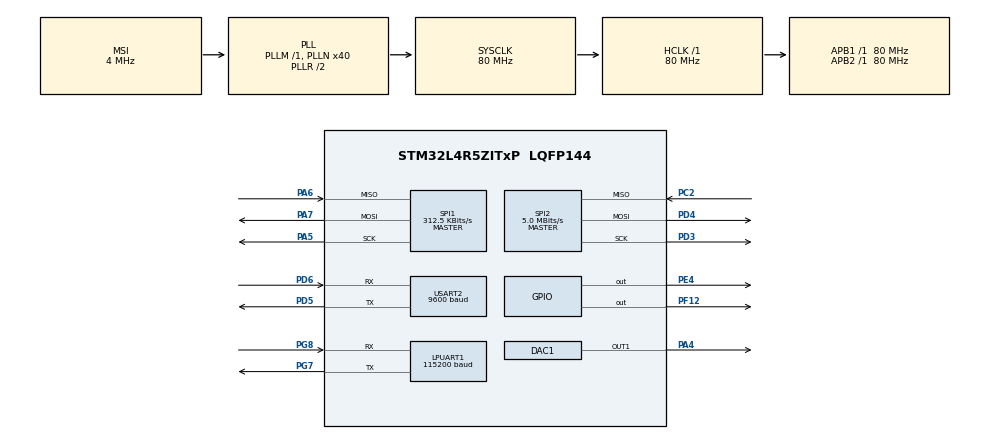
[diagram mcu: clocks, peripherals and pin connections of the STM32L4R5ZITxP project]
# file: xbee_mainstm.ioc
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DAC1.DAC_Trigger-DAC_OUT1=DAC_TRIGGER_T2_TRGO
Dma.DAC1_CH1.0.Direction=DMA_MEMORY_TO_PERIPH
Dma.DAC1_CH1.0.EventEnable=DISABLE
Dma.DAC1_CH1.0.Instance=DMA1_Channel1
Dma.DAC1_CH1.0.MemDataAlignment=DMA_MDATAALIGN_HALFWORD
Dma.DAC1_CH1.0.MemInc=DMA_MINC_ENABLE
Dma.DAC1_CH1.0.Mode=DMA_CIRCULAR
Dma.DAC1_CH1.0.PeriphDataAlignment=DMA_PDATAALIGN_HALFWORD
Dma.DAC1_CH1.0.PeriphInc=DMA_PINC_DISABLE
Dma.DAC1_CH1.0.Polarity=HAL_DMAMUX_REQUEST_GEN_RISING
Dma.DAC1_CH1.0.Priority=DMA_PRIORITY_LOW
Dma.DAC1_CH1.0.RequestNumber=1
Dma.DAC1_CH1.0.SignalID=NONE
Dma.DAC1_CH1.0.SyncEnable=DISABLE
Dma.DAC1_CH1.0.SyncPolarity=HAL_DMAMUX_SYNC_NO_EVENT
Dma.DAC1_CH1.0.SyncRequestNumber=1
Dma.DAC1_CH1.0.SyncSignalID=NONE
Dma.LPUART1_RX.1.Direction=DMA_PERIPH_TO_MEMORY
Dma.LPUART1_RX.1.EventEnable=DISABLE
Dma.LPUART1_RX.1.Instance=DMA1_Channel2
Dma.LPUART1_RX.1.MemDataAlignment=DMA_MDATAALIGN_BYTE
Dma.LPUART1_RX.1.MemInc=DMA_MINC_ENABLE
Dma.LPUART1_RX.1.Mode=DMA_NORMAL
Dma.LPUART1_RX.1.PeriphDataAlignment=DMA_PDATAALIGN_BYTE
Dma.LPUART1_RX.1.PeriphInc=DMA_PINC_DISABLE
Dma.LPUART1_RX.1.Polarity=HAL_DMAMUX_REQUEST_GEN_RISING
Dma.LPUART1_RX.1.Priority=DMA_PRIORITY_LOW
Dma.LPUART1_RX.1.RequestNumber=1
Dma.LPUART1_RX.1.SignalID=NONE
Dma.LPUART1_RX.1.SyncEnable=DISABLE
Dma.LPUART1_RX.1.SyncPolarity=HAL_DMAMUX_SYNC_NO_EVENT
Dma.LPUART1_RX.1.SyncRequestNumber=1
Dma.LPUART1_RX.1.SyncSignalID=NONE
Dma.Request0=DAC1_CH1
Dma.Request1=LPUART1_RX
LPUART1.BaudRate=115200
LPUART1.WordLength=UART_WORDLENGTH_8B
Mcu.Family=STM32L4
Mcu.Name=STM32L4R5ZITxP
Mcu.Package=LQFP144
NVIC.DMA1_Channel1_IRQn=true\:0\:0\:false\:false\:true\:false\:true\:true
NVIC.DMA1_Channel2_IRQn=true\:0\:0\:false\:false\:true\:false\:true\:true
NVIC.PriorityGroup=NVIC_PRIORITYGROUP_4
NVIC.SPI1_IRQn=true\:0\:0\:false\:false\:true\:true\:true\:true
NVIC.USART2_IRQn=true\:0\:0\:false\:false\:true\:true\:true\:true
PA0.Signal=S_TIM2_CH1
PA1.Signal=ADCx_IN6
PA10.Signal=USB_OTG_FS_ID
PA13\ (JTMS/SWDIO).Signal=SYS_JTMS-SWDIO
PA14\ (JTCK/SWCLK).Signal=SYS_JTCK-SWCLK
PA3.Signal=ADCx_IN8
PA4.Signal=COMP_DAC11_group
PA5.GPIO_Speed=GPIO_SPEED_FREQ_LOW
PA5.Mode=Full_Duplex_Master
PA5.Signal=SPI1_SCK
PA6.GPIO_Speed=GPIO_SPEED_FREQ_LOW
PA6.Mode=Full_Duplex_Master
PA6.Signal=SPI1_MISO
PA7.GPIO_Speed=GPIO_SPEED_FREQ_LOW
PA7.Mode=Full_Duplex_Master
PA7.Signal=SPI1_MOSI
PA8.Signal=USB_OTG_FS_SOF
PA9.Signal=USB_OTG_FS_VBUS
PB0.Signal=S_TIM3_CH3
PB1.Signal=ADCx_IN16
PB10.Signal=S_TIM2_CH3
PB12.Signal=SAI2_FS_A
PB13.Signal=SAI2_SCK_A
PB14.Signal=S_TIM15_CH1
PB15.Signal=SAI2_SD_A
PB2.Signal=COMP1_INP
PB3\ (JTDO/TRACESWO).Signal=SPI3_SCK
PB4\ (NJTRST).Signal=SPI3_MISO
PB5.Signal=SPI3_MOSI
PB6.Signal=COMP2_INP
PB8.Signal=I2C1_SCL
PB9.Signal=I2C1_SDA
PC0.Signal=ADCx_IN1
PC1.Signal=ADCx_IN2
PC10.Signal=SDMMC1_D2
PC11.Signal=SDMMC1_D3
PC12.Signal=SDMMC1_CK
PC13.Signal=SYS_WKUP2
PC14-OSC32_IN\ (PC14).Signal=RCC_OSC32_IN
PC15-OSC32_OUT\ (PC15).Signal=RCC_OSC32_OUT
PC2.GPIO_PuPd=GPIO_PULLUP
PC2.Mode=Full_Duplex_Master
PC2.Signal=SPI2_MISO
PC3.Signal=ADCx_IN4
PC4.Signal=ADCx_IN13
PC5.Signal=ADCx_IN14
PC6.Signal=SAI2_MCLK_A
PC7.Signal=S_TIM3_CH2
PC8.Signal=SDMMC1_D0
PC9.Signal=SDMMC1_D1
PD0.Signal=CAN1_RX
PD14.Signal=S_TIM4_CH3
PD15.Signal=S_TIM4_CH4
PD2.Signal=SDMMC1_CMD
PD3.Mode=Full_Duplex_Master
PD3.Signal=SPI2_SCK
PD4.GPIO_PuPd=GPIO_NOPULL
PD4.Mode=Full_Duplex_Master
PD4.Signal=SPI2_MOSI
PD5.Mode=Asynchronous
PD5.Signal=USART2_TX
PD6.Mode=Asynchronous
PD6.Signal=USART2_RX
PD8.Signal=USART3_TX
PD9.Signal=USART3_RX
PE0.Signal=S_TIM4_ETR
PE10.Signal=TIM1_CH2N
PE11.Signal=S_TIM1_CH2
PE12.Signal=TIM1_CH3N
PE13.Signal=S_TIM1_CH3
PE14.Signal=TIM1_BKIN2
PE15.Signal=TIM1_BKIN
PE2.Signal=SAI1_MCLK_A
PE3.Signal=SAI1_SD_B
PE4.PinState=GPIO_PIN_SET
PE4.Signal=GPIO_Output
PE7.Signal=S_TIM1_ETR
PE8.Signal=TIM1_CH1N
PE9.Signal=S_TIM1_CH1
PF0.Signal=I2C2_SDA
PF1.Signal=I2C2_SCL
PF12.PinState=GPIO_PIN_SET
PF12.Signal=GPIO_Output
PF2.Signal=I2C2_SMBA
PF7.Signal=SAI1_MCLK_B
PG7.Mode=Asynchronous
PG7.Signal=LPUART1_TX
PG8.Mode=Asynchronous
PG8.Signal=LPUART1_RX
PH0-OSC_IN\ (PH0).Signal=RCC_OSC_IN
PH1-OSC_OUT\ (PH1).Signal=RCC_OSC_OUT
ProjectManager.HeapSize=0x200
ProjectManager.StackSize=0x400
ProjectManager.TargetToolchain=STM32CubeIDE
RCC.AHBFreq_Value=80000000
RCC.APB1Freq_Value=80000000
RCC.APB1TimFreq_Value=80000000
RCC.APB2Freq_Value=80000000
RCC.APB2TimFreq_Value=80000000
RCC.CortexFreq_Value=80000000
RCC.HCLKFreq_Value=80000000
RCC.HSE_VALUE=8000000
RCC.HSI48_VALUE=48000000
RCC.HSI_VALUE=16000000
RCC.LSE_VALUE=32768
RCC.MSI_VALUE=4000000
RCC.PLLN=40
RCC.SYSCLKFreq_VALUE=80000000
RCC.SYSCLKSource=RCC_SYSCLKSOURCE_PLLCLK
RCC.VCOOutputFreq_Value=160000000
SH.ADCx_IN1.0=ADC1_IN1
SH.ADCx_IN13.0=ADC1_IN13
SH.ADCx_IN14.0=ADC1_IN14
SH.ADCx_IN16.0=ADC1_IN16
SH.ADCx_IN2.0=ADC1_IN2
SH.ADCx_IN4.0=ADC1_IN4
SH.ADCx_IN6.0=ADC1_IN6
SH.ADCx_IN8.0=ADC1_IN8
SH.COMP_DAC11_group.0=DAC1_OUT1,DAC_OUT1
SH.S_TIM15_CH1.0=TIM15_CH1
SH.S_TIM1_CH1.0=TIM1_CH1
SH.S_TIM1_CH2.0=TIM1_CH2
SH.S_TIM1_CH3.0=TIM1_CH3
SH.S_TIM1_ETR.0=TIM1_ETR
SH.S_TIM2_CH1.0=TIM2_CH1
SH.S_TIM2_CH3.0=TIM2_CH3
SH.S_TIM3_CH2.0=TIM3_CH2
SH.S_TIM3_CH3.0=TIM3_CH3
SH.S_TIM4_CH3.0=TIM4_CH3
SH.S_TIM4_CH4.0=TIM4_CH4
SH.S_TIM4_ETR.0=TIM4_ETR
SPI1.BaudRatePrescaler=SPI_BAUDRATEPRESCALER_256
SPI1.CalculateBaudRate=312.5 KBits/s
SPI1.DataSize=SPI_DATASIZE_8BIT
SPI1.Direction=SPI_DIRECTION_2LINES
SPI1.Mode=SPI_MODE_MASTER
SPI1.VirtualType=VM_MASTER
SPI2.BaudRatePrescaler=SPI_BAUDRATEPRESCALER_16
SPI2.CalculateBaudRate=5.0 MBits/s
SPI2.DataSize=SPI_DATASIZE_8BIT
SPI2.Direction=SPI_DIRECTION_2LINES
SPI2.Mode=SPI_MODE_MASTER
SPI2.VirtualType=VM_MASTER
TIM2.Period=4999
TIM2.TIM_MasterOutputTrigger=TIM_TRGO_UPDATE
USART2.BaudRate=9600
USART2.VirtualMode-Asynchronous=VM_ASYNC
VP_FATFS_VS_Generic.Mode=User_defined
VP_TIM2_VS_ClockSourceINT.Mode=Internal
board=NUCLEO-L4R5ZI-P

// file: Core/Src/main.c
/* USER CODE BEGIN Header */
/**
  ******************************************************************************
  * @file           : main.c
  * @brief          : Main program body
  ******************************************************************************
  * @attention
  *
  * Copyright (c) 2026 STMicroelectronics.
  * All rights reserved.
  *
  * This software is licensed under terms that can be found in the LICENSE file
  * in the root directory of this software component.
  * If no LICENSE file comes with this software, it is provided AS-IS.
  *
  ******************************************************************************
  */
/* USER CODE END Header */
#include "main.h"
#include "fatfs.h"

/* USER CODE BEGIN Includes */
#include "stdio.h"
#include "string.h"
#include "sfx.h"
/* USER CODE END Includes */

/* USER CODE BEGIN PD */
#define DEVICE_ADDR  0b100
#define P1_ARM_ADDR  0b000
#define P1_LEG_ADDR  0b001
#define P2_ARM_ADDR  0b010
#define P2_LEG_ADDR  0b011
#define START_BYTE   0xFF
#define TIMEOUT_MS   50

/* ── BGM filenames — change these to swap tracks ──────────────── */
#define BGM_INTRO    "introken.wav"
#define BGM_GAME     "bgm.wav"
#define BGM_GAMEOVER "gameover.wav"

#define AUDIO_BUF_SAMPLES 3200          /* 100ms per half at 16 kHz */
#define HALF_BUF_SAMPLES  (AUDIO_BUF_SAMPLES / 2)
uint8_t  raw[HALF_BUF_SAMPLES * 2];   /* scratch buffer for SD reads */
uint16_t audio_out[AUDIO_BUF_SAMPLES]; /* DMA output (circular double-buffer) */

/* USER CODE END PD */

DAC_HandleTypeDef hdac1;
DMA_HandleTypeDef hdma_dac1_ch1;

UART_HandleTypeDef hlpuart1;
UART_HandleTypeDef huart2;
DMA_HandleTypeDef hdma_lpuart1_rx;

SPI_HandleTypeDef hspi1;
SPI_HandleTypeDef hspi2;

TIM_HandleTypeDef htim2;

/* USER CODE BEGIN PV */

/* ── UART inter-STM communication ─────────────────────────────── */
uint8_t rx_buf[3]   = {0};
uint8_t rx_copy[3]  = {0};
uint8_t local_copy[3] = {0};
uint8_t tx_buf[3]   = {0};

uint8_t current_slave        = P1_ARM_ADDR;
uint8_t waiting_for_response = 0;
volatile uint8_t uart_tx_busy      = 0;
volatile uint8_t process_rx_buf    = 0;
uint32_t request_time        = 0;

/* ── Player state decoded from UART (arm/leg nodes) ───────────── */
uint8_t p1_punch        = 0;
uint8_t p1_jump         = 0;
uint8_t p1_joystick_val = 0;
uint8_t p1_emg_val      = 0;
uint8_t p2_punch        = 0;
uint8_t p2_jump         = 0;
uint8_t p2_joystick_val = 0;
uint8_t p2_emg_val      = 0;

/* ── Game state decoded from FPGA SPI rxData ──────────────────── */
uint8_t p1_got_hit      = 0;
uint8_t p2_got_hit      = 0;
uint8_t p1_win          = 0;
uint8_t p2_win          = 0;
uint8_t p1_jump_snd     = 0;
uint8_t p2_jump_snd     = 0;
uint8_t p1_punch_snd    = 0;
uint8_t p2_punch_snd    = 0;
uint8_t p1_charging_snd = 0;
uint8_t p2_charging_snd = 0;

/* USER CODE END PV */

void SystemClock_Config(void);
static void MX_GPIO_Init(void);
static void MX_DMA_Init(void);
static void MX_LPUART1_UART_Init(void);
static void MX_SPI1_Init(void);
static void MX_DAC1_Init(void);
static void MX_TIM2_Init(void);
static void MX_SPI2_Init(void);
static void MX_USART2_UART_Init(void);

/* USER CODE BEGIN 0 */

/* Decode a 3-byte packet received from an arm/leg node via UART */
void process(uint8_t *buf) {
    uint8_t second_byte = buf[1];
    if ((second_byte & 0b111) == P1_ARM_ADDR) {
        p1_punch        = (buf[1] >> 6) & 0x01;
        p1_joystick_val = buf[2] & 0x3;
        p1_emg_val      = buf[2] >> 2;
        if (p1_punch & p1_joystick_val) p1_joystick_val = 0;
    } else if ((second_byte & 0b111) == P2_ARM_ADDR) {
        p2_punch        = (buf[1] >> 6) & 0x01;
        p2_joystick_val = buf[2] & 0x3;
        p2_emg_val      = buf[2] >> 2;
        if (p2_punch & p2_joystick_val) p2_joystick_val = 0;
    } else if ((second_byte & 0b111) == P1_LEG_ADDR) {
        p1_jump = buf[1] >> 7;
    } else if ((second_byte & 0b111) == P2_LEG_ADDR) {
        p2_jump = buf[1] >> 7;
    }
}

/* SPI transaction helper — pulls CS low, transfers, releases CS */
void SPI_TransmitReceive(uint8_t *txData, uint8_t *rxData, uint16_t size) {
    HAL_GPIO_WritePin(GPIOF, GPIO_PIN_12, GPIO_PIN_RESET);
    HAL_SPI_TransmitReceive(&hspi1, txData, rxData, size, 100);
    HAL_GPIO_WritePin(GPIOF, GPIO_PIN_12, GPIO_PIN_SET);
}

/* UART RX complete: copy buffer, advance slave, re-arm receiver */
void HAL_UART_RxCpltCallback(UART_HandleTypeDef *huart) {
    if (huart->Instance == USART2) {
        memcpy(local_copy, rx_buf, 3);
        process_rx_buf = 1;
        switch (current_slave) {
            case P1_ARM_ADDR: current_slave = P1_LEG_ADDR; break;
            case P1_LEG_ADDR: current_slave = P2_ARM_ADDR; break;
            case P2_ARM_ADDR: current_slave = P2_LEG_ADDR; break;
            case P2_LEG_ADDR: current_slave = P1_ARM_ADDR; break;
        }
        waiting_for_response = 0;
        HAL_UART_Receive_IT(&huart2, rx_buf, 3);
    }
}

/* UART TX complete: release busy flag */
void HAL_UART_TxCpltCallback(UART_HandleTypeDef *huart) {
    if (huart->Instance == USART2) {
        uart_tx_busy = 0;
    }
}

/* UART error: re-arm receiver so polling doesn't permanently stop */
void HAL_UART_ErrorCallback(UART_HandleTypeDef *huart) {
    if (huart->Instance == USART2) {
        uart_tx_busy = 0;
        huart2.RxState = HAL_UART_STATE_READY;
        huart2.gState  = HAL_UART_STATE_READY;
        HAL_UART_Receive_IT(&huart2, rx_buf, 3);
    }
}

FATFS SDFatFs;
char SDPath[4] = "0:/";
FIL wavFile;
FRESULT fres;
uint32_t data_start_offset = 0;  /* byte offset of first audio sample in WAV */

volatile int half_ready = 0;
volatile int full_ready = 0;
volatile int playing    = 0;

const int16_t    *sfx_data = NULL;  /* SFX stored as const array in flash */
volatile uint32_t sfx_len  = 0;
volatile uint32_t sfx_pos  = 0;
static int16_t    sfx_gain = 1;     /* multiplier applied to SFX samples */

/* ── Game event flags ─────────────────────────────────────────────
 * Set these from your packet-receive / UART callback when events arrive.
 * Main loop consumes and clears them.                                  */
volatile uint8_t p1_punch_flag      = 0;
volatile uint8_t p2_punch_flag      = 0;
volatile uint8_t p1_jump_flag       = 0;
volatile uint8_t p2_jump_flag       = 0;
volatile uint8_t game_started       = 0;  /* 0 = intro screen, 1 = game running */
volatile uint8_t game_countdown_flag = 0; /* set during pre-game countdown — plays ready[] */
volatile uint8_t game_over_flag      = 0; /* set when match ends — chains perfect → you_win */
volatile uint8_t timesup_flag        = 0; /* set when round timer expires */

/* ── BGM switch state ──────────────────────────────────────────── */
static uint8_t      bgm_state          = 0;     /* 0=intro BGM, 1=game BGM, 2=game over, 3=time's up */
static uint8_t      bgm_switch_pending = 0;
static const char  *pending_bgm_file   = NULL;
static uint8_t      bgm_muted          = 0;     /* 1 = silence BGM, SFX still plays */
static FIL          pendingWavFile;
static uint32_t     pending_data_start = 0;
static uint8_t      bgm_preloaded      = 0;     /* 1 = pendingWavFile already open and seeked */

/* ── SFX queue — up to 3 chained SFX play sequentially ────────── */
#define SFX_QUEUE_MAX 3
typedef struct { const int16_t *data; uint32_t len; } SfxEntry;
static SfxEntry sfx_queue[SFX_QUEUE_MAX];
static uint8_t  sfx_q_head = 0;
static uint8_t  sfx_q_tail = 0;

void HAL_DAC_ConvHalfCpltCallbackCh1(DAC_HandleTypeDef *hdac)
{
    half_ready = 1;
}

void HAL_DAC_ConvCpltCallbackCh1(DAC_HandleTypeDef *hdac)
{
    full_ready = 1;
}

static int wav_seek_to_data(void)
{
    UINT br;
    uint8_t hdr[12];
    uint8_t chunk[8];

    // Read RIFF header
    if (f_lseek(&wavFile, 0) != FR_OK) return 0;
    if (f_read(&wavFile, hdr, 12, &br) != FR_OK || br != 12) return 0;

    // Check "RIFF" and "WAVE"
    if (hdr[0] != 'R' || hdr[1] != 'I' || hdr[2] != 'F' || hdr[3] != 'F') return 0;
    if (hdr[8] != 'W' || hdr[9] != 'A' || hdr[10] != 'V' || hdr[11] != 'E') return 0;

    while (1) {
        if (f_read(&wavFile, chunk, 8, &br) != FR_OK || br != 8) return 0;

        uint32_t chunk_size =
            ((uint32_t)chunk[4]) |
            ((uint32_t)chunk[5] << 8) |
            ((uint32_t)chunk[6] << 16) |
            ((uint32_t)chunk[7] << 24);

        // Found "data"
        if (chunk[0] == 'd' && chunk[1] == 'a' && chunk[2] == 't' && chunk[3] == 'a') {
            return 1;
        }

        // Skip this chunk
        if (f_lseek(&wavFile, f_tell(&wavFile) + chunk_size) != FR_OK) return 0;

        // Chunks are word-aligned
        if (chunk_size & 1) {
            if (f_lseek(&wavFile, f_tell(&wavFile) + 1) != FR_OK) return 0;
        }
    }
}

/* Stream n samples from SD into dst, loop BGM at EOF, mix SFX from flash */
static void fill_output(uint16_t *dst, uint32_t n)
{
    uint32_t bytes_needed = n * 2;
    UINT br = 0;

    /* One read, FatFS handles cluster boundaries internally */
    f_read(&wavFile, raw, bytes_needed, &br);

    /* Only seek back if we actually hit EOF mid-buffer */
    if (f_eof(&wavFile) && br < bytes_needed) {
        f_lseek(&wavFile, data_start_offset);
        UINT br2 = 0;
        f_read(&wavFile, &raw[br], bytes_needed - br, &br2);
        br += br2;
    }

    uint32_t got_samples = br / 2;
    for (uint32_t i = 0; i < n; i++) {
        int32_t bgm = (i < got_samples && !bgm_muted)
            ? (int32_t)(int16_t)((raw[2*i+1] << 8) | raw[2*i])
            : 0;

        /* Advance to next queued SFX the moment the current one finishes */
        if (sfx_data && sfx_pos >= sfx_len) {
            if (sfx_q_head != sfx_q_tail) {
                sfx_data   = sfx_queue[sfx_q_head].data;
                sfx_len    = sfx_queue[sfx_q_head].len;
                sfx_pos    = 0;
                sfx_q_head = (sfx_q_head + 1) % SFX_QUEUE_MAX;
            } else {
                sfx_data = NULL;
            }
        }

        int32_t sfx = 0;
        if (sfx_data && sfx_pos < sfx_len)
            sfx = (int32_t)sfx_data[sfx_pos++] * sfx_gain;

        int32_t out = bgm + sfx;
        if (out >  32767) out =  32767;
        if (out < -32768) out = -32768;
        dst[i] = (uint16_t)((out + 32768) >> 4);
    }
}

void Play_SFX_Gain(const int16_t *data, uint32_t len, int16_t gain)
{
    sfx_q_head = sfx_q_tail = 0;   /* clear pending chain */
    sfx_data = data;
    sfx_len  = len;
    sfx_pos  = 0;
    sfx_gain = gain;
}

/* Play a one-shot SFX immediately, clearing any pending chain */
void Play_SFX(const int16_t *data, uint32_t len)
{
    Play_SFX_Gain(data, len, 1);
}

/* Queue a follow-up SFX to play after the current one finishes */
void Queue_SFX(const int16_t *data, uint32_t len)
{
    uint8_t next = (sfx_q_tail + 1) % SFX_QUEUE_MAX;
    if (next != sfx_q_head) {   /* silently drop if queue full */
        sfx_queue[sfx_q_tail].data = data;
        sfx_queue[sfx_q_tail].len  = len;
        sfx_q_tail = next;
    }
}

/* Open a WAV file and seek to its PCM data — SD must already be mounted */
static int open_bgm_file(const char *filename)
{
    fres = f_open(&wavFile, filename, FA_READ);
    printf("f_open(%s) = %d\r\n", filename, fres);
    if (fres != FR_OK) return 0;

    if (!wav_seek_to_data()) {
        printf("WAV data chunk not found\r\n");
        f_close(&wavFile);
        return 0;
    }

    data_start_offset = f_tell(&wavFile);
    return 1;
}

/* Mount SD then open file — call only on first open at startup */
static int open_bgm(const char *filename)
{
    fres = f_mount(&SDFatFs, (TCHAR const*)SDPath, 1);
    printf("f_mount = %d\r\n", fres);
    if (fres != FR_OK) return 0;
    return open_bgm_file(filename);
}

/* Switch BGM without remounting — pre-open while SFX plays, swap instantly when done */
static void do_bgm_switch(void)
{
    if (!bgm_switch_pending) return;

    /* Pre-open the pending file while SFX is still playing */
    if (!bgm_preloaded) {
        FRESULT r = f_open(&pendingWavFile, pending_bgm_file, FA_READ);
        if (r == FR_OK) {
            FIL tmp = wavFile;
            wavFile = pendingWavFile;
            if (wav_seek_to_data()) {
                pending_data_start = f_tell(&wavFile);
                bgm_preloaded = 1;
            }
            wavFile = tmp;   /* restore current file */
        }
        return;  /* don't swap yet, wait for SFX to finish */
    }

    /* SFX still playing — keep waiting */
    if (sfx_data != NULL) return;

    /* SFX done — swap instantly, file is already open and seeked */
    f_close(&wavFile);
    wavFile          = pendingWavFile;
    data_start_offset = pending_data_start;
    bgm_switch_pending = 0;
    bgm_preloaded      = 0;
}

static void start_wav_playback(void)
{
    printf("Starting playback...\r\n");

    if (!open_bgm_file(BGM_INTRO)){
        printf("Open failed\r\n");
        HAL_Delay(500);
        return;
    }

    /* Pre-fill both halves before handing off to DMA */
    fill_output(&audio_out[0],                HALF_BUF_SAMPLES);
    fill_output(&audio_out[HALF_BUF_SAMPLES], HALF_BUF_SAMPLES);

    HAL_TIM_Base_Start(&htim2);
    HAL_DAC_Start_DMA(&hdac1, DAC_CHANNEL_1,
                      (uint32_t*)audio_out, AUDIO_BUF_SAMPLES,
                      DAC_ALIGN_12B_R);

    playing = 1;
    printf("Playback started!\r\n");
}

/* USER CODE END 0 */

int main(void)
{

  /* MCU Configuration--------------------------------------------------------*/

  /* Reset of all peripherals, Initializes the Flash interface and the Systick. */
  HAL_Init();

  /* Configure the system clock */
  SystemClock_Config();

  /* Initialize all configured peripherals */
  MX_GPIO_Init();
  MX_DMA_Init();
  MX_LPUART1_UART_Init();
  MX_SPI1_Init();
  MX_DAC1_Init();
  MX_TIM2_Init();
  MX_FATFS_Init();
  MX_SPI2_Init();
  MX_USART2_UART_Init();
  /* USER CODE BEGIN 2 */

  HAL_UART_Receive_IT(&huart2, rx_buf, 3);

  /* Mount SD card once at startup — never remount in the main loop */
  fres = f_mount(&SDFatFs, (TCHAR const*)SDPath, 1);
  printf("f_mount = %d\r\n", fres);

  printf("Start code\r\n");

  /* USER CODE END 2 */

  /* Infinite loop */
  /* USER CODE BEGIN WHILE */
  while (1)
  {
      /* --- UART round-robin: poll arm/leg nodes ------------------- */
      if (!waiting_for_response) {
          process(local_copy);

          if (current_slave == P1_ARM_ADDR) {
              tx_buf[0] = START_BYTE;
              tx_buf[1] = (DEVICE_ADDR | (P1_ARM_ADDR << 3));
              tx_buf[2] = p1_got_hit;
          } else if (current_slave == P1_LEG_ADDR) {
              tx_buf[0] = START_BYTE;
              tx_buf[1] = (DEVICE_ADDR | (P1_LEG_ADDR << 3));
              tx_buf[2] = 0;
          } else if (current_slave == P2_ARM_ADDR) {
              tx_buf[0] = START_BYTE;
              tx_buf[1] = (DEVICE_ADDR | (P2_ARM_ADDR << 3));
              tx_buf[2] = p2_got_hit;
          } else {
              tx_buf[0] = START_BYTE;
              tx_buf[1] = (DEVICE_ADDR | (P2_LEG_ADDR << 3));
              tx_buf[2] = 0;
          }

          if (!uart_tx_busy) {
              uart_tx_busy = 1;
              HAL_UART_Transmit_IT(&huart2, tx_buf, 3);
              waiting_for_response = 1;
              request_time = HAL_GetTick();
          }
      } else {
          if (HAL_GetTick() - request_time > TIMEOUT_MS) {
              printf("Timeout on slave %d\r\n", current_slave);
              switch (current_slave) {
                  case P1_ARM_ADDR: current_slave = P1_LEG_ADDR; break;
                  case P1_LEG_ADDR: current_slave = P2_ARM_ADDR; break;
                  case P2_ARM_ADDR: current_slave = P2_LEG_ADDR; break;
                  case P2_LEG_ADDR: current_slave = P1_ARM_ADDR; break;
              }
              waiting_for_response = 0;
          }
      }

      /* --- SPI to FPGA: send player state, receive sound flags --- */
      {
          uint8_t txDataP1[2] = {0};
          uint8_t txDataP2[2] = {0};
          uint8_t rxData[2]   = {0};

          txDataP1[0] = 0xA1;
          txDataP1[1] = ((p1_joystick_val & 0x03) << 6) |
                        ((p1_jump         & 0x01) << 5) |
                        ((p1_punch        & 0x01) << 4) |
                        ((p1_emg_val      & 0x01) << 3);
          SPI_TransmitReceive(txDataP1, rxData, 2);

          txDataP2[0] = 0xA2;
          txDataP2[1] = ((p2_joystick_val & 0x03) << 6) |
                        ((p2_jump         & 0x01) << 5) |
                        ((p2_punch        & 0x01) << 4) |
                        ((p2_emg_val      & 0x01) << 3);
          SPI_TransmitReceive(txDataP2, rxData, 2);

          /* Decode game state from FPGA response */
          p2_got_hit      = (rxData[0] >> 7) & 0x01;
          p1_got_hit      = (rxData[0] >> 6) & 0x01;
          p1_win          = (rxData[0] >> 5) & 0x01;
          p2_win          = (rxData[0] >> 4) & 0x01;
          p1_jump_snd     = (rxData[0] >> 3) & 0x01;
          p2_jump_snd     = (rxData[0] >> 2) & 0x01;
          p1_punch_snd    = (rxData[0] >> 1) & 0x01;
          p2_punch_snd    = (rxData[0] >> 0) & 0x01;
          p1_charging_snd = (rxData[1] >> 7) & 0x01;
          p2_charging_snd = (rxData[1] >> 6) & 0x01;
          uint8_t timesup_snd = (rxData[1] >> 3) & 0x01;

          /* Map FPGA sound flags → audio event flags */
          if (p1_punch_snd) p1_punch_flag = 1;
          if (p2_punch_snd) p2_punch_flag = 1;
          if (p1_jump_snd)  p1_jump_flag  = 1;
          if (p2_jump_snd)  p2_jump_flag  = 1;
          if (timesup_snd && bgm_state < 2)  timesup_flag  = 1;
          /* 2-bit game state from FPGA: rxData[1] bits 5:4
           * 0 = intro, 1 = game running, 2 = game over */
          uint8_t fpga_game_state = (rxData[1] >> 4) & 0x03;
          if (fpga_game_state != game_started) {
              if (fpga_game_state == 0) {
                  /* Game over → intro reset: switch BGM back to intro */
                  pending_bgm_file   = BGM_INTRO;
                  bgm_switch_pending = 1;
                  bgm_state          = 0;
              } else if (fpga_game_state == 1) {
                  /* Intro → game: play ready, BGM switch deferred until ready finishes */
                  game_countdown_flag = 1;
                  pending_bgm_file    = BGM_GAME;
                  bgm_switch_pending  = 1;
                  bgm_state           = 1;
              } else if (fpga_game_state == 2) {
                  /* Game running → game over */
                  game_over_flag = 1;
              }
              game_started = fpga_game_state;
          }
      }

      /* --- Countdown: play "ready", BGM switches after it finishes --- */
      if (game_countdown_flag) {
          game_countdown_flag = 0;
          Play_SFX(ready, sizeof(ready) / sizeof(ready[0]));
      }
      if (bgm_switch_pending) {
          do_bgm_switch();
      }

      /* --- Game over: play youwin → perfect, then switch BGM --- */
      if (game_over_flag) {
          game_over_flag     = 0;
          bgm_state          = 2;
          pending_bgm_file   = BGM_GAMEOVER;
          bgm_switch_pending = 1;
          Play_SFX(youwin, sizeof(youwin) / sizeof(youwin[0]));
          Queue_SFX(perfect, sizeof(perfect) / sizeof(perfect[0]));
      }

      /* --- SFX triggers (consume and clear flags) --- */
      if (p1_punch_flag || p2_punch_flag) {
          p1_punch_flag = 0;
          p2_punch_flag = 0;
          Play_SFX(punch, sizeof(punch) / sizeof(punch[0]));
          if (p1_got_hit || p2_got_hit)
              Queue_SFX(pain, sizeof(pain) / sizeof(pain[0]));
      }
      if (p1_jump_flag || p2_jump_flag) {
          p1_jump_flag = 0;
          p2_jump_flag = 0;
          Play_SFX(jump2, sizeof(jump2) / sizeof(jump2[0]));
      }
      if (p1_charging_snd || p2_charging_snd) {
          Play_SFX_Gain(powerup, sizeof(powerup) / sizeof(powerup[0]), 3);
      }
      if (timesup_flag) {
          timesup_flag       = 0;
          bgm_state          = 3;
          pending_bgm_file   = BGM_GAMEOVER;
          bgm_switch_pending = 1;
          Play_SFX(timeup, sizeof(timeup) / sizeof(timeup[0]));
      }

      /* --- BGM streaming --- */
      if (!playing) {
          start_wav_playback();
      }
      if (half_ready) {
          half_ready = 0;
          fill_output(&audio_out[0], HALF_BUF_SAMPLES);
      }
      if (full_ready) {
          full_ready = 0;
          fill_output(&audio_out[HALF_BUF_SAMPLES], HALF_BUF_SAMPLES);
      }
   //p1_jump_flag = 0;
   //p1_punch_flag = 1;
    // game_started = 1;
    // HAL_Delay(20000)

    /* USER CODE END WHILE */

  }
}

void SystemClock_Config(void)
{
  RCC_OscInitTypeDef RCC_OscInitStruct = {0};
  RCC_ClkInitTypeDef RCC_ClkInitStruct = {0};

  /** Configure the main internal regulator output voltage
  */
  if (HAL_PWREx_ControlVoltageScaling(PWR_REGULATOR_VOLTAGE_SCALE1) != HAL_OK)
  {
    Error_Handler();
  }

  /** Initializes the RCC Oscillators according to the specified parameters
  * in the RCC_OscInitTypeDef structure.
  */
  RCC_OscInitStruct.OscillatorType = RCC_OSCILLATORTYPE_MSI;
  RCC_OscInitStruct.MSIState = RCC_MSI_ON;
  RCC_OscInitStruct.MSICalibrationValue = 0;
  RCC_OscInitStruct.MSIClockRange = RCC_MSIRANGE_6;
  RCC_OscInitStruct.PLL.PLLState = RCC_PLL_ON;
  RCC_OscInitStruct.PLL.PLLSource = RCC_PLLSOURCE_MSI;
  RCC_OscInitStruct.PLL.PLLM = 1;
  RCC_OscInitStruct.PLL.PLLN = 40;
  RCC_OscInitStruct.PLL.PLLP = RCC_PLLP_DIV2;
  RCC_OscInitStruct.PLL.PLLQ = RCC_PLLQ_DIV2;
  RCC_OscInitStruct.PLL.PLLR = RCC_PLLR_DIV2;
  if (HAL_RCC_OscConfig(&RCC_OscInitStruct) != HAL_OK)
  {
    Error_Handler();
  }

  /** Initializes the CPU, AHB and APB buses clocks
  */
  RCC_ClkInitStruct.ClockType = RCC_CLOCKTYPE_HCLK|RCC_CLOCKTYPE_SYSCLK
                              |RCC_CLOCKTYPE_PCLK1|RCC_CLOCKTYPE_PCLK2;
  RCC_ClkInitStruct.SYSCLKSource = RCC_SYSCLKSOURCE_PLLCLK;
  RCC_ClkInitStruct.AHBCLKDivider = RCC_SYSCLK_DIV1;
  RCC_ClkInitStruct.APB1CLKDivider = RCC_HCLK_DIV1;
  RCC_ClkInitStruct.APB2CLKDivider = RCC_HCLK_DIV1;

  if (HAL_RCC_ClockConfig(&RCC_ClkInitStruct, FLASH_LATENCY_3) != HAL_OK)
  {
    Error_Handler();
  }
}

static void MX_DAC1_Init(void)
{

  DAC_ChannelConfTypeDef sConfig = {0};

  /** DAC Initialization
  */
  hdac1.Instance = DAC1;
  if (HAL_DAC_Init(&hdac1) != HAL_OK)
  {
    Error_Handler();
  }

  /** DAC channel OUT1 config
  */
  sConfig.DAC_SampleAndHold = DAC_SAMPLEANDHOLD_DISABLE;
  sConfig.DAC_Trigger = DAC_TRIGGER_T2_TRGO;
  sConfig.DAC_HighFrequency = DAC_HIGH_FREQUENCY_INTERFACE_MODE_ABOVE_80MHZ;
  sConfig.DAC_OutputBuffer = DAC_OUTPUTBUFFER_ENABLE;
  sConfig.DAC_ConnectOnChipPeripheral = DAC_CHIPCONNECT_DISABLE;
  sConfig.DAC_UserTrimming = DAC_TRIMMING_FACTORY;
  if (HAL_DAC_ConfigChannel(&hdac1, &sConfig, DAC_CHANNEL_1) != HAL_OK)
  {
    Error_Handler();
  }

}

static void MX_LPUART1_UART_Init(void)
{

  hlpuart1.Instance = LPUART1;
  hlpuart1.Init.BaudRate = 115200;
  hlpuart1.Init.WordLength = UART_WORDLENGTH_8B;
  hlpuart1.Init.StopBits = UART_STOPBITS_1;
  hlpuart1.Init.Parity = UART_PARITY_NONE;
  hlpuart1.Init.Mode = UART_MODE_TX_RX;
  hlpuart1.Init.HwFlowCtl = UART_HWCONTROL_NONE;
  hlpuart1.Init.OneBitSampling = UART_ONE_BIT_SAMPLE_DISABLE;
  hlpuart1.Init.ClockPrescaler = UART_PRESCALER_DIV1;
  hlpuart1.AdvancedInit.AdvFeatureInit = UART_ADVFEATURE_NO_INIT;
  hlpuart1.FifoMode = UART_FIFOMODE_DISABLE;
  if (HAL_UART_Init(&hlpuart1) != HAL_OK)
  {
    Error_Handler();
  }
  if (HAL_UARTEx_SetTxFifoThreshold(&hlpuart1, UART_TXFIFO_THRESHOLD_1_8) != HAL_OK)
  {
    Error_Handler();
  }
  if (HAL_UARTEx_SetRxFifoThreshold(&hlpuart1, UART_RXFIFO_THRESHOLD_1_8) != HAL_OK)
  {
    Error_Handler();
  }
  if (HAL_UARTEx_DisableFifoMode(&hlpuart1) != HAL_OK)
  {
    Error_Handler();
  }

}

static void MX_USART2_UART_Init(void)
{

  huart2.Instance = USART2;
  huart2.Init.BaudRate = 9600;
  huart2.Init.WordLength = UART_WORDLENGTH_8B;
  huart2.Init.StopBits = UART_STOPBITS_1;
  huart2.Init.Parity = UART_PARITY_NONE;
  huart2.Init.Mode = UART_MODE_TX_RX;
  huart2.Init.HwFlowCtl = UART_HWCONTROL_NONE;
  huart2.Init.OverSampling = UART_OVERSAMPLING_16;
  huart2.Init.OneBitSampling = UART_ONE_BIT_SAMPLE_DISABLE;
  huart2.Init.ClockPrescaler = UART_PRESCALER_DIV1;
  huart2.AdvancedInit.AdvFeatureInit = UART_ADVFEATURE_NO_INIT;
  if (HAL_UART_Init(&huart2) != HAL_OK)
  {
    Error_Handler();
  }
  if (HAL_UARTEx_SetTxFifoThreshold(&huart2, UART_TXFIFO_THRESHOLD_1_8) != HAL_OK)
  {
    Error_Handler();
  }
  if (HAL_UARTEx_SetRxFifoThreshold(&huart2, UART_RXFIFO_THRESHOLD_1_8) != HAL_OK)
  {
    Error_Handler();
  }
  if (HAL_UARTEx_DisableFifoMode(&huart2) != HAL_OK)
  {
    Error_Handler();
  }

}

static void MX_SPI1_Init(void)
{

  /* SPI1 parameter configuration*/
  hspi1.Instance = SPI1;
  hspi1.Init.Mode = SPI_MODE_MASTER;
  hspi1.Init.Direction = SPI_DIRECTION_2LINES;
  hspi1.Init.DataSize = SPI_DATASIZE_8BIT;
  hspi1.Init.CLKPolarity = SPI_POLARITY_LOW;
  hspi1.Init.CLKPhase = SPI_PHASE_1EDGE;
  hspi1.Init.NSS = SPI_NSS_SOFT;
  hspi1.Init.BaudRatePrescaler = SPI_BAUDRATEPRESCALER_256;
  hspi1.Init.FirstBit = SPI_FIRSTBIT_MSB;
  hspi1.Init.TIMode = SPI_TIMODE_DISABLE;
  hspi1.Init.CRCCalculation = SPI_CRCCALCULATION_DISABLE;
  hspi1.Init.CRCPolynomial = 7;
  hspi1.Init.CRCLength = SPI_CRC_LENGTH_DATASIZE;
  hspi1.Init.NSSPMode = SPI_NSS_PULSE_ENABLE;
  if (HAL_SPI_Init(&hspi1) != HAL_OK)
  {
    Error_Handler();
  }

}

static void MX_SPI2_Init(void)
{

  /* SPI2 parameter configuration*/
  hspi2.Instance = SPI2;
  hspi2.Init.Mode = SPI_MODE_MASTER;
  hspi2.Init.Direction = SPI_DIRECTION_2LINES;
  hspi2.Init.DataSize = SPI_DATASIZE_8BIT;
  hspi2.Init.CLKPolarity = SPI_POLARITY_LOW;
  hspi2.Init.CLKPhase = SPI_PHASE_1EDGE;
  hspi2.Init.NSS = SPI_NSS_SOFT;
  hspi2.Init.BaudRatePrescaler = SPI_BAUDRATEPRESCALER_16;
  hspi2.Init.FirstBit = SPI_FIRSTBIT_MSB;
  hspi2.Init.TIMode = SPI_TIMODE_DISABLE;
  hspi2.Init.CRCCalculation = SPI_CRCCALCULATION_DISABLE;
  hspi2.Init.CRCPolynomial = 7;
  hspi2.Init.CRCLength = SPI_CRC_LENGTH_DATASIZE;
  hspi2.Init.NSSPMode = SPI_NSS_PULSE_ENABLE;
  if (HAL_SPI_Init(&hspi2) != HAL_OK)
  {
    Error_Handler();
  }

}

static void MX_TIM2_Init(void)
{

  TIM_ClockConfigTypeDef sClockSourceConfig = {0};
  TIM_MasterConfigTypeDef sMasterConfig = {0};

  htim2.Instance = TIM2;
  htim2.Init.Prescaler = 0;
  htim2.Init.CounterMode = TIM_COUNTERMODE_UP;
  htim2.Init.Period = 4999;
  htim2.Init.ClockDivision = TIM_CLOCKDIVISION_DIV1;
  htim2.Init.AutoReloadPreload = TIM_AUTORELOAD_PRELOAD_DISABLE;
  if (HAL_TIM_Base_Init(&htim2) != HAL_OK)
  {
    Error_Handler();
  }
  sClockSourceConfig.ClockSource = TIM_CLOCKSOURCE_INTERNAL;
  if (HAL_TIM_ConfigClockSource(&htim2, &sClockSourceConfig) != HAL_OK)
  {
    Error_Handler();
  }
  sMasterConfig.MasterOutputTrigger = TIM_TRGO_UPDATE;
  sMasterConfig.MasterSlaveMode = TIM_MASTERSLAVEMODE_DISABLE;
  if (HAL_TIMEx_MasterConfigSynchronization(&htim2, &sMasterConfig) != HAL_OK)
  {
    Error_Handler();
  }

}

static void MX_DMA_Init(void)
{

  /* DMA controller clock enable */
  __HAL_RCC_DMAMUX1_CLK_ENABLE();
  __HAL_RCC_DMA1_CLK_ENABLE();

  /* DMA interrupt init */
  /* DMA1_Channel1_IRQn interrupt configuration */
  HAL_NVIC_SetPriority(DMA1_Channel1_IRQn, 0, 0);
  HAL_NVIC_EnableIRQ(DMA1_Channel1_IRQn);
  /* DMA1_Channel2_IRQn interrupt configuration */
  HAL_NVIC_SetPriority(DMA1_Channel2_IRQn, 0, 0);
  HAL_NVIC_EnableIRQ(DMA1_Channel2_IRQn);

}

static void MX_GPIO_Init(void)
{
  GPIO_InitTypeDef GPIO_InitStruct = {0};

  /* GPIO Ports Clock Enable */
  __HAL_RCC_GPIOE_CLK_ENABLE();
  __HAL_RCC_GPIOC_CLK_ENABLE();
  __HAL_RCC_GPIOF_CLK_ENABLE();
  __HAL_RCC_GPIOH_CLK_ENABLE();
  __HAL_RCC_GPIOA_CLK_ENABLE();
  __HAL_RCC_GPIOB_CLK_ENABLE();
  __HAL_RCC_GPIOD_CLK_ENABLE();
  __HAL_RCC_GPIOG_CLK_ENABLE();
  HAL_PWREx_EnableVddIO2();

  /*Configure GPIO pin Output Level */
  HAL_GPIO_WritePin(GPIOE, GPIO_PIN_4, GPIO_PIN_SET);

  /*Configure GPIO pin Output Level */
  HAL_GPIO_WritePin(GPIOF, GPIO_PIN_12, GPIO_PIN_SET);

  /*Configure GPIO pins : PE2 PE3 */
  GPIO_InitStruct.Pin = GPIO_PIN_2|GPIO_PIN_3;
  GPIO_InitStruct.Mode = GPIO_MODE_AF_PP;
  GPIO_InitStruct.Pull = GPIO_NOPULL;
  GPIO_InitStruct.Speed = GPIO_SPEED_FREQ_LOW;
  GPIO_InitStruct.Alternate = GPIO_AF13_SAI1;
  HAL_GPIO_Init(GPIOE, &GPIO_InitStruct);

  /*Configure GPIO pin : PE4 */
  GPIO_InitStruct.Pin = GPIO_PIN_4;
  GPIO_InitStruct.Mode = GPIO_MODE_OUTPUT_PP;
  GPIO_InitStruct.Pull = GPIO_NOPULL;
  GPIO_InitStruct.Speed = GPIO_SPEED_FREQ_LOW;
  HAL_GPIO_Init(GPIOE, &GPIO_InitStruct);

  /*Configure GPIO pins : PF0 PF1 PF2 */
  GPIO_InitStruct.Pin = GPIO_PIN_0|GPIO_PIN_1|GPIO_PIN_2;
  GPIO_InitStruct.Mode = GPIO_MODE_AF_OD;
  GPIO_InitStruct.Pull = GPIO_NOPULL;
  GPIO_InitStruct.Speed = GPIO_SPEED_FREQ_VERY_HIGH;
  GPIO_InitStruct.Alternate = GPIO_AF4_I2C2;
  HAL_GPIO_Init(GPIOF, &GPIO_InitStruct);

  /*Configure GPIO pin : PF7 */
  GPIO_InitStruct.Pin = GPIO_PIN_7;
  GPIO_InitStruct.Mode = GPIO_MODE_AF_PP;
  GPIO_InitStruct.Pull = GPIO_NOPULL;
  GPIO_InitStruct.Speed = GPIO_SPEED_FREQ_LOW;
  GPIO_InitStruct.Alternate = GPIO_AF13_SAI1;
  HAL_GPIO_Init(GPIOF, &GPIO_InitStruct);

  /*Configure GPIO pins : PC0 PC1 PC3 PC4
                           PC5 */
  GPIO_InitStruct.Pin = GPIO_PIN_0|GPIO_PIN_1|GPIO_PIN_3|GPIO_PIN_4
                          |GPIO_PIN_5;
  GPIO_InitStruct.Mode = GPIO_MODE_ANALOG_ADC_CONTROL;
  GPIO_InitStruct.Pull = GPIO_NOPULL;
  HAL_GPIO_Init(GPIOC, &GPIO_InitStruct);

  /*Configure GPIO pins : PA1 PA3 */
  GPIO_InitStruct.Pin = GPIO_PIN_1|GPIO_PIN_3;
  GPIO_InitStruct.Mode = GPIO_MODE_ANALOG_ADC_CONTROL;
  GPIO_InitStruct.Pull = GPIO_NOPULL;
  HAL_GPIO_Init(GPIOA, &GPIO_InitStruct);

  /*Configure GPIO pin : PB0 */
  GPIO_InitStruct.Pin = GPIO_PIN_0;
  GPIO_InitStruct.Mode = GPIO_MODE_AF_PP;
  GPIO_InitStruct.Pull = GPIO_NOPULL;
  GPIO_InitStruct.Speed = GPIO_SPEED_FREQ_LOW;
  GPIO_InitStruct.Alternate = GPIO_AF2_TIM3;
  HAL_GPIO_Init(GPIOB, &GPIO_InitStruct);

  /*Configure GPIO pin : PB1 */
  GPIO_InitStruct.Pin = GPIO_PIN_1;
  GPIO_InitStruct.Mode = GPIO_MODE_ANALOG_ADC_CONTROL;
  GPIO_InitStruct.Pull = GPIO_NOPULL;
  HAL_GPIO_Init(GPIOB, &GPIO_InitStruct);

  /*Configure GPIO pins : PB2 PB6 */
  GPIO_InitStruct.Pin = GPIO_PIN_2|GPIO_PIN_6;
  GPIO_InitStruct.Mode = GPIO_MODE_ANALOG;
  GPIO_InitStruct.Pull = GPIO_NOPULL;
  HAL_GPIO_Init(GPIOB, &GPIO_InitStruct);

  /*Configure GPIO pin : PF12 */
  GPIO_InitStruct.Pin = GPIO_PIN_12;
  GPIO_InitStruct.Mode = GPIO_MODE_OUTPUT_PP;
  GPIO_InitStruct.Pull = GPIO_NOPULL;
  GPIO_InitStruct.Speed = GPIO_SPEED_FREQ_LOW;
  HAL_GPIO_Init(GPIOF, &GPIO_InitStruct);

  /*Configure GPIO pins : PE7 PE8 PE9 PE10
                           PE11 PE12 PE13 */
  GPIO_InitStruct.Pin = GPIO_PIN_7|GPIO_PIN_8|GPIO_PIN_9|GPIO_PIN_10
                          |GPIO_PIN_11|GPIO_PIN_12|GPIO_PIN_13;
  GPIO_InitStruct.Mode = GPIO_MODE_AF_PP;
  GPIO_InitStruct.Pull = GPIO_NOPULL;
  GPIO_InitStruct.Speed = GPIO_SPEED_FREQ_LOW;
  GPIO_InitStruct.Alternate = GPIO_AF1_TIM1;
  HAL_GPIO_Init(GPIOE, &GPIO_InitStruct);

  /*Configure GPIO pins : PE14 PE15 */
  GPIO_InitStruct.Pin = GPIO_PIN_14|GPIO_PIN_15;
  GPIO_InitStruct.Mode = GPIO_MODE_AF_PP;
  GPIO_InitStruct.Pull = GPIO_NOPULL;
  GPIO_InitStruct.Speed = GPIO_SPEED_FREQ_LOW;
  GPIO_InitStruct.Alternate = GPIO_AF3_TIM1_COMP1;
  HAL_GPIO_Init(GPIOE, &GPIO_InitStruct);

  /*Configure GPIO pins : PB12 PB13 PB15 */
  GPIO_InitStruct.Pin = GPIO_PIN_12|GPIO_PIN_13|GPIO_PIN_15;
  GPIO_InitStruct.Mode = GPIO_MODE_AF_PP;
  GPIO_InitStruct.Pull = GPIO_NOPULL;
  GPIO_InitStruct.Speed = GPIO_SPEED_FREQ_LOW;
  GPIO_InitStruct.Alternate = GPIO_AF13_SAI2;
  HAL_GPIO_Init(GPIOB, &GPIO_InitStruct);

  /*Configure GPIO pin : PB14 */
  GPIO_InitStruct.Pin = GPIO_PIN_14;
  GPIO_InitStruct.Mode = GPIO_MODE_AF_PP;
  GPIO_InitStruct.Pull = GPIO_NOPULL;
  GPIO_InitStruct.Speed = GPIO_SPEED_FREQ_LOW;
  GPIO_InitStruct.Alternate = GPIO_AF14_TIM15;
  HAL_GPIO_Init(GPIOB, &GPIO_InitStruct);

  /*Configure GPIO pins : PD8 PD9 */
  GPIO_InitStruct.Pin = GPIO_PIN_8|GPIO_PIN_9;
  GPIO_InitStruct.Mode = GPIO_MODE_AF_PP;
  GPIO_InitStruct.Pull = GPIO_NOPULL;
  GPIO_InitStruct.Speed = GPIO_SPEED_FREQ_VERY_HIGH;
  GPIO_InitStruct.Alternate = GPIO_AF7_USART3;
  HAL_GPIO_Init(GPIOD, &GPIO_InitStruct);

  /*Configure GPIO pins : PD14 PD15 */
  GPIO_InitStruct.Pin = GPIO_PIN_14|GPIO_PIN_15;
  GPIO_InitStruct.Mode = GPIO_MODE_AF_PP;
  GPIO_InitStruct.Pull = GPIO_NOPULL;
  GPIO_InitStruct.Speed = GPIO_SPEED_FREQ_LOW;
  GPIO_InitStruct.Alternate = GPIO_AF2_TIM4;
  HAL_GPIO_Init(GPIOD, &GPIO_InitStruct);

  /*Configure GPIO pin : PC6 */
  GPIO_InitStruct.Pin = GPIO_PIN_6;
  GPIO_InitStruct.Mode = GPIO_MODE_AF_PP;
  GPIO_InitStruct.Pull = GPIO_NOPULL;
  GPIO_InitStruct.Speed = GPIO_SPEED_FREQ_LOW;
  GPIO_InitStruct.Alternate = GPIO_AF13_SAI2;
  HAL_GPIO_Init(GPIOC, &GPIO_InitStruct);

  /*Configure GPIO pin : PC7 */
  GPIO_InitStruct.Pin = GPIO_PIN_7;
  GPIO_InitStruct.Mode = GPIO_MODE_AF_PP;
  GPIO_InitStruct.Pull = GPIO_NOPULL;
  GPIO_InitStruct.Speed = GPIO_SPEED_FREQ_LOW;
  GPIO_InitStruct.Alternate = GPIO_AF2_TIM3;
  HAL_GPIO_Init(GPIOC, &GPIO_InitStruct);

  /*Configure GPIO pins : PC8 PC9 PC10 PC11
                           PC12 */
  GPIO_InitStruct.Pin = GPIO_PIN_8|GPIO_PIN_9|GPIO_PIN_10|GPIO_PIN_11
                          |GPIO_PIN_12;
  GPIO_InitStruct.Mode = GPIO_MODE_AF_PP;
  GPIO_InitStruct.Pull = GPIO_NOPULL;
  GPIO_InitStruct.Speed = GPIO_SPEED_FREQ_VERY_HIGH;
  GPIO_InitStruct.Alternate = GPIO_AF12_SDMMC1;
  HAL_GPIO_Init(GPIOC, &GPIO_InitStruct);

  /*Configure GPIO pins : PA8 PA10 */
  GPIO_InitStruct.Pin = GPIO_PIN_8|GPIO_PIN_10;
  GPIO_InitStruct.Mode = GPIO_MODE_AF_PP;
  GPIO_InitStruct.Pull = GPIO_NOPULL;
  GPIO_InitStruct.Speed = GPIO_SPEED_FREQ_VERY_HIGH;
  GPIO_InitStruct.Alternate = GPIO_AF10_OTG_FS;
  HAL_GPIO_Init(GPIOA, &GPIO_InitStruct);

  /*Configure GPIO pin : PA9 */
  GPIO_InitStruct.Pin = GPIO_PIN_9;
  GPIO_InitStruct.Mode = GPIO_MODE_INPUT;
  GPIO_InitStruct.Pull = GPIO_NOPULL;
  HAL_GPIO_Init(GPIOA, &GPIO_InitStruct);

  /*Configure GPIO pin : PD0 */
  GPIO_InitStruct.Pin = GPIO_PIN_0;
  GPIO_InitStruct.Mode = GPIO_MODE_AF_PP;
  GPIO_InitStruct.Pull = GPIO_NOPULL;
  GPIO_InitStruct.Speed = GPIO_SPEED_FREQ_VERY_HIGH;
  GPIO_InitStruct.Alternate = GPIO_AF9_CAN1;
  HAL_GPIO_Init(GPIOD, &GPIO_InitStruct);

  /*Configure GPIO pin : PD2 */
  GPIO_InitStruct.Pin = GPIO_PIN_2;
  GPIO_InitStruct.Mode = GPIO_MODE_AF_PP;
  GPIO_InitStruct.Pull = GPIO_NOPULL;
  GPIO_InitStruct.Speed = GPIO_SPEED_FREQ_VERY_HIGH;
  GPIO_InitStruct.Alternate = GPIO_AF12_SDMMC1;
  HAL_GPIO_Init(GPIOD, &GPIO_InitStruct);

  /*Configure GPIO pins : PB3 PB4 PB5 */
  GPIO_InitStruct.Pin = GPIO_PIN_3|GPIO_PIN_4|GPIO_PIN_5;
  GPIO_InitStruct.Mode = GPIO_MODE_AF_PP;
  GPIO_InitStruct.Pull = GPIO_NOPULL;
  GPIO_InitStruct.Speed = GPIO_SPEED_FREQ_VERY_HIGH;
  GPIO_InitStruct.Alternate = GPIO_AF6_SPI3;
  HAL_GPIO_Init(GPIOB, &GPIO_InitStruct);

  /*Configure GPIO pins : PB8 PB9 */
  GPIO_InitStruct.Pin = GPIO_PIN_8|GPIO_PIN_9;
  GPIO_InitStruct.Mode = GPIO_MODE_AF_OD;
  GPIO_InitStruct.Pull = GPIO_NOPULL;
  GPIO_InitStruct.Speed = GPIO_SPEED_FREQ_VERY_HIGH;
  GPIO_InitStruct.Alternate = GPIO_AF4_I2C1;
  HAL_GPIO_Init(GPIOB, &GPIO_InitStruct);

  /*Configure GPIO pin : PE0 */
  GPIO_InitStruct.Pin = GPIO_PIN_0;
  GPIO_InitStruct.Mode = GPIO_MODE_AF_PP;
  GPIO_InitStruct.Pull = GPIO_NOPULL;
  GPIO_InitStruct.Speed = GPIO_SPEED_FREQ_LOW;
  GPIO_InitStruct.Alternate = GPIO_AF2_TIM4;
  HAL_GPIO_Init(GPIOE, &GPIO_InitStruct);

}

/* USER CODE BEGIN 4 */
#ifdef __GNUC__
#define PUTCHAR_PROTOTYPE int __io_putchar(int ch)
#else
  #define PUTCHAR_PROTOTYPE int fputc(int ch, FILE *f)
#endif /* __GNUC__ */
PUTCHAR_PROTOTYPE
{
  HAL_UART_Transmit(&hlpuart1, (uint8_t *)&ch, 1, 0xFFFF);
  return ch;
}

/* USER CODE END 4 */

void Error_Handler(void)
{
  __disable_irq();
  while (1)
  {
  }
}
